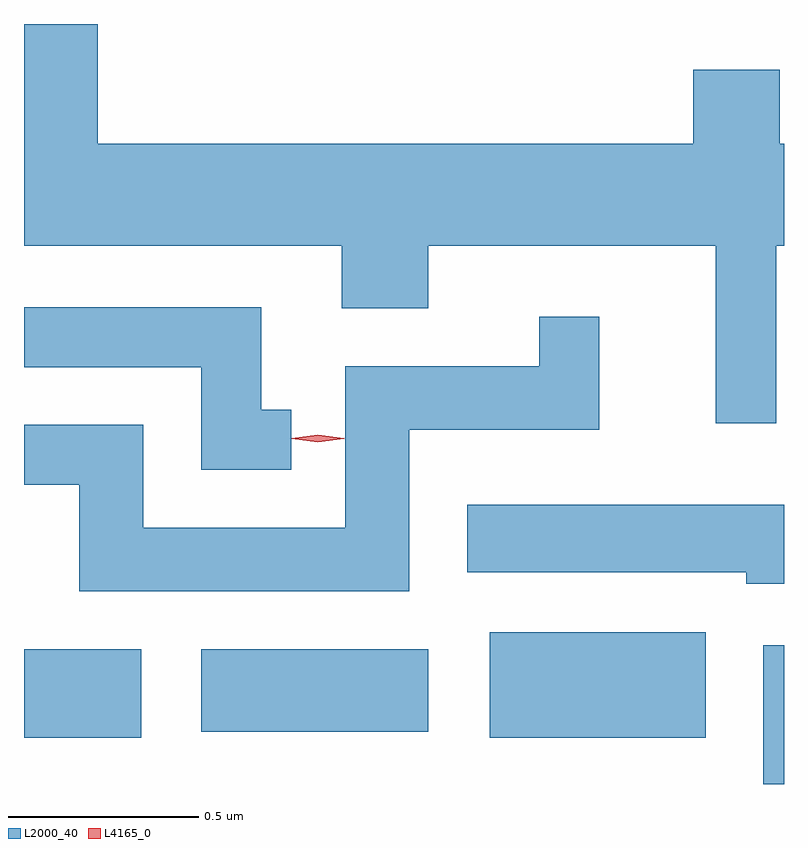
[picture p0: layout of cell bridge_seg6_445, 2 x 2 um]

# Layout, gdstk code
import gdstk
lib = gdstk.Library(unit=1e-6, precision=1e-09)
def R(c, l, rs):  # rectangles x0, y0, x1, y1
    for r in rs: c.add(gdstk.rectangle(r[:2], r[2:], *l))
def P(c, l, *ps):  # polygons
    for p in ps: c.add(gdstk.Polygon(p, *l))
L2000_40 = (2000, 40)
L4165_0 = (4165, 0)

bridge_seg6_445 = lib.new_cell('bridge_seg6_445')
R(bridge_seg6_445, L2000_40, [(892.781,1601.899,892.835,1602.264), (890.835,1602.021,891.144,1602.254), (892.061,1602.021,892.629,1602.299), (891.301,1602.036,891.899,1602.254), (891.281,1603.898,891.439,1603.899)])
P(bridge_seg6_445, L2000_40, [(892.814,1603.316),(892.835,1603.316),(892.835,1603.584),(892.824,1603.584),(892.824,1603.779),(892.596,1603.779),(892.596,1603.584),(891.029,1603.584),(891.029,1603.899),(890.835,1603.899),(890.835,1603.316),(891.671,1603.316),(891.671,1603.151),(891.899,1603.151),(891.899,1603.316),(892.656,1603.316),(892.656,1602.848),(892.814,1602.848)],
  [(891.538,1602.884),(891.459,1602.884),(891.459,1603.154),(890.835,1603.154),(890.835,1602.996),(891.301,1602.996),(891.301,1602.726),(891.538,1602.726)],
  [(891.849,1602.831),(892.349,1602.831),(892.349,1603.128),(892.191,1603.128),(892.191,1602.999),(891.681,1602.999),(891.681,1602.574),(891.149,1602.574),(891.149,1602.844),(890.835,1602.844),(890.835,1602.686),(890.981,1602.686),(890.981,1602.406),(891.849,1602.406)],
  [(892.835,1602.634),(892.001,1602.634),(892.001,1602.456),(892.736,1602.456),(892.736,1602.426),(892.835,1602.426)])
P(bridge_seg6_445, L4165_0, [(891.608,1602.798),(891.539,1602.808),(891.539,1602.808),(891.539,1602.809),(891.608,1602.818),(891.678,1602.809),(891.678,1602.808),(891.678,1602.808)])

lib.write_gds('bridge_seg6_445.gds')
